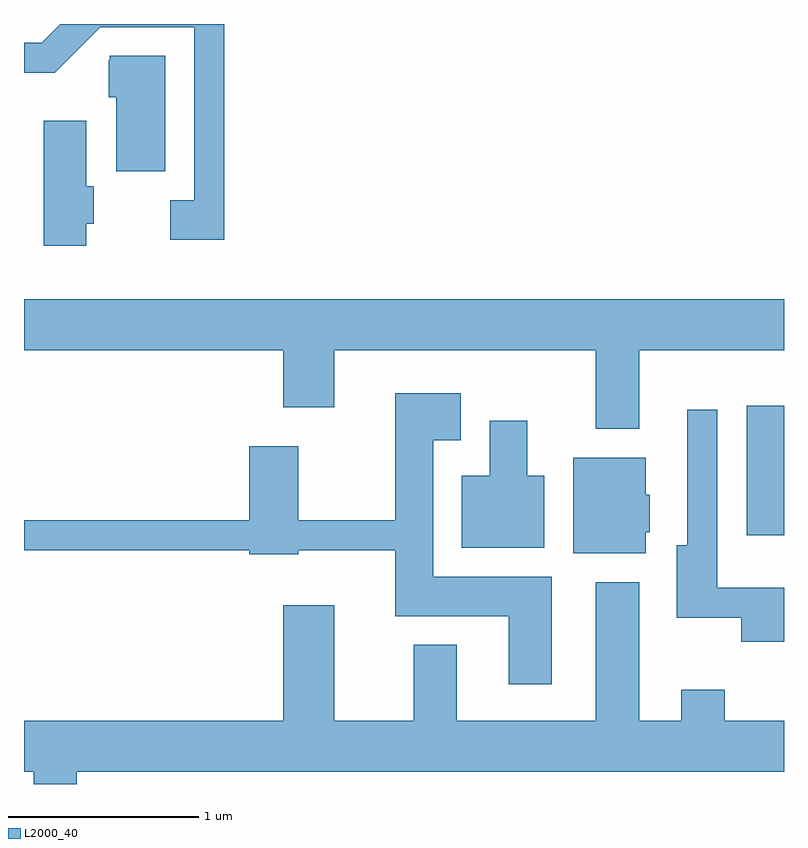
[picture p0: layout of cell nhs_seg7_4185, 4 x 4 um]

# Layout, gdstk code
import gdstk
lib = gdstk.Library(unit=1e-6, precision=1e-09)
def R(c, l, rs):  # rectangles x0, y0, x1, y1
    for r in rs: c.add(gdstk.rectangle(r[:2], r[2:], *l))
def P(c, l, *ps):  # polygons
    for p in ps: c.add(gdstk.Polygon(p, *l))
L2000_40 = (2000, 40)

nhs_seg7_4185 = lib.new_cell('nhs_seg7_4185')
R(nhs_seg7_4185, L2000_40, [(317.416,1715.561,317.611,1716.244)])
P(nhs_seg7_4185, L2000_40, [(314.664,1718.252),(313.802,1718.252),(313.704,1718.154),(313.611,1718.154),(313.611,1717.996),(313.772,1717.996),(314.012,1718.236),(314.506,1718.236),(314.506,1717.324),(314.381,1717.324),(314.381,1717.116),(314.664,1717.116)],
  [(314.354,1718.084),(314.062,1718.084),(314.062,1718.06),(314.056,1718.06),(314.056,1717.866),(314.096,1717.866),(314.096,1717.476),(314.354,1717.476)],
  [(313.939,1717.201),(313.979,1717.201),(313.979,1717.399),(313.939,1717.399),(313.939,1717.744),(313.716,1717.744),(313.716,1717.086),(313.939,1717.086)],
  [(316.849,1716.536),(317.611,1716.536),(317.611,1716.804),(313.611,1716.804),(313.611,1716.536),(314.976,1716.536),(314.976,1716.236),(315.244,1716.236),(315.244,1716.536),(316.621,1716.536),(316.621,1716.121),(316.849,1716.121)],
  [(316.389,1715.344),(315.764,1715.344),(315.764,1716.061),(315.909,1716.061),(315.909,1716.309),(315.566,1716.309),(315.566,1715.639),(315.054,1715.639),(315.054,1716.029),(314.796,1716.029),(314.796,1715.639),(313.611,1715.639),(313.611,1715.481),(314.796,1715.481),(314.796,1715.461),(315.054,1715.461),(315.054,1715.481),(315.566,1715.481),(315.566,1715.136),(316.161,1715.136),(316.161,1714.776),(316.389,1714.776)],
  [(317.611,1715.284),(317.259,1715.284),(317.259,1716.223),(317.101,1716.223),(317.101,1715.509),(317.046,1715.509),(317.046,1715.126),(317.386,1715.126),(317.386,1715.001),(317.611,1715.001)],
  [(316.349,1715.874),(316.259,1715.874),(316.259,1716.164),(316.061,1716.164),(316.061,1715.874),(315.916,1715.874),(315.916,1715.496),(316.349,1715.496)],
  [(316.884,1715.576),(316.904,1715.576),(316.904,1715.774),(316.884,1715.774),(316.884,1715.969),(316.501,1715.969),(316.501,1715.466),(316.884,1715.466)],
  [(317.611,1714.584),(317.299,1714.584),(317.299,1714.749),(317.071,1714.749),(317.071,1714.584),(316.849,1714.584),(316.849,1715.314),(316.621,1715.314),(316.621,1714.584),(315.889,1714.584),(315.889,1714.984),(315.661,1714.984),(315.661,1714.584),(315.244,1714.584),(315.244,1715.194),(314.976,1715.194),(314.976,1714.584),(313.611,1714.584),(313.611,1714.316),(313.661,1714.316),(313.661,1714.252),(313.889,1714.252),(313.889,1714.316),(317.611,1714.316)])

lib.write_gds('nhs_seg7_4185.gds')
